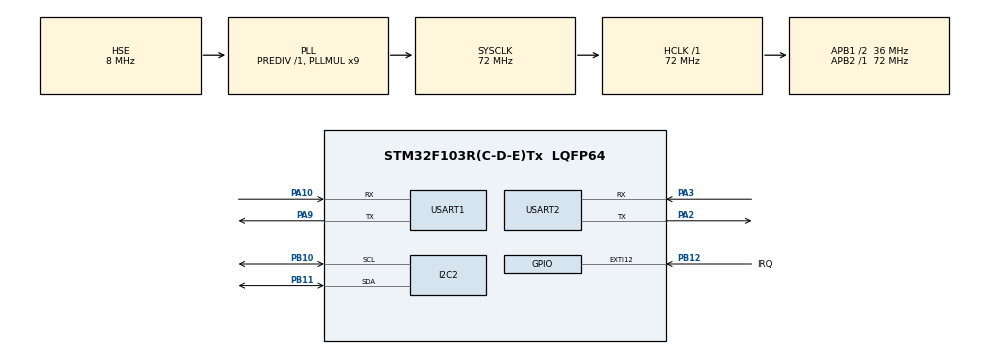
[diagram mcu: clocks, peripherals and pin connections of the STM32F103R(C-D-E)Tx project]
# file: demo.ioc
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I2C2.I2C_Mode=I2C_Standard
I2C2.NoStretchMode=I2C_NOSTRETCH_DISABLE
Mcu.Family=STM32F1
Mcu.Name=STM32F103R(C-D-E)Tx
Mcu.Package=LQFP64
NVIC.EXTI15_10_IRQn=true\:0\:0\:false\:false\:true\:true\:true\:true
NVIC.PriorityGroup=NVIC_PRIORITYGROUP_4
NVIC.USART1_IRQn=true\:0\:0\:false\:false\:true\:true\:true\:true
PA10.Mode=Asynchronous
PA10.Signal=USART1_RX
PA13.Mode=Serial_Wire
PA13.Signal=SYS_JTMS-SWDIO
PA14.Mode=Serial_Wire
PA14.Signal=SYS_JTCK-SWCLK
PA2.Mode=Asynchronous
PA2.Signal=USART2_TX
PA3.Mode=Asynchronous
PA3.Signal=USART2_RX
PA9.Mode=Asynchronous
PA9.Signal=USART1_TX
PB10.GPIO_Pu=GPIO_PULLUP
PB10.Mode=I2C
PB10.Signal=I2C2_SCL
PB11.GPIO_Pu=GPIO_PULLUP
PB11.Mode=I2C
PB11.Signal=I2C2_SDA
PB12.GPIO_Label=IRQ
PB12.GPIO_ModeDefaultEXTI=GPIO_MODE_IT_FALLING
PB12.GPIO_PuPd=GPIO_PULLUP
PB12.Signal=GPXTI12
PD0-OSC_IN.Mode=HSE-External-Oscillator
PD0-OSC_IN.Signal=RCC_OSC_IN
PD1-OSC_OUT.Mode=HSE-External-Oscillator
PD1-OSC_OUT.Signal=RCC_OSC_OUT
ProjectManager.HeapSize=0x400
ProjectManager.StackSize=0x400
ProjectManager.TargetToolchain=MDK-ARM V5
RCC.AHBFreq_Value=72000000
RCC.APB1CLKDivider=RCC_HCLK_DIV2
RCC.APB1Freq_Value=36000000
RCC.APB1TimFreq_Value=72000000
RCC.APB2Freq_Value=72000000
RCC.APB2TimFreq_Value=72000000
RCC.HCLKFreq_Value=72000000
RCC.PLLMUL=RCC_PLL_MUL9
RCC.PLLSourceVirtual=RCC_PLLSOURCE_HSE
RCC.SYSCLKFreq_VALUE=72000000
RCC.SYSCLKSource=RCC_SYSCLKSOURCE_PLLCLK
RCC.USBFreq_Value=72000000
USART1.VirtualMode=VM_ASYNC
USART2.VirtualMode=VM_ASYNC
board=custom

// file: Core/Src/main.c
/* USER CODE BEGIN Header */
/**
 ******************************************************************************
 * @file           : main.c
 * @brief          : Main program body
 ******************************************************************************
 * @attention
 *
 * <h2><center>&copy; Copyright (c) 2022 STMicroelectronics.
 * All rights reserved.</center></h2>
 *
 * This software component is licensed by ST under BSD 3-Clause license,
 * the "License"; You may not use this file except in compliance with the
 * License. You may obtain a copy of the License at:
 *                        opensource.org/licenses/BSD-3-Clause
 *
 ******************************************************************************
 */
/* USER CODE END Header */
#include "main.h"
#include "i2c.h"
#include "usart.h"
#include "gpio.h"

/* USER CODE BEGIN Includes */
#include "tcs3472x/tcs3472x.h"
/* USER CODE END Includes */

void SystemClock_Config(void);

/* USER CODE BEGIN 0 */
void HAL_GPIO_EXTI_Callback(uint16_t GPIO_Pin)
{
    static uint32_t t = 0;
    if (t) println("interval = %f s", (HAL_GetTick() - t) / 1000.f);
    t = HAL_GetTick();  // 计算中断间隔时间

    uint16_t rgb565;
    uint32_t rgb888;
    uint16_t red, green, blue, clear;
    if (tcs3472x_read_rgbc(&red, &green, &blue, &clear)) {
        tcs3472x_get_rgb565_rgb888(red, green, blue, &rgb565, &rgb888);
        println("%d\t%d\t%d", rgb888 >> 16, (rgb888 >> 8) & 0xFF, rgb888 & 0xFF);
    } else {
        println("fail to read rgbc");
    }
}

/* USER CODE END 0 */

int main(void)
{

    /* MCU Configuration--------------------------------------------------------*/

    /* Reset of all peripherals, Initializes the Flash interface and the Systick. */
    HAL_Init();

    /* Configure the system clock */
    SystemClock_Config();

    /* Initialize all configured peripherals */
    MX_GPIO_Init();
    MX_USART1_UART_Init();
    MX_I2C2_Init();
    MX_USART2_UART_Init();

    /* Infinite loop */
    /* USER CODE BEGIN WHILE */

#define PRINT_FREQ 0  // 频率
#define PRINT_LUX  0  // 流名
#define PRINT_CCT  1  // 色温
#define PRINT_RGB  0  //
#define PRINT_IRQ  0  // 中断

    uint16_t red, green, blue, clear;

    if (!tcs3472x_init()) {
        i2cdrv_detector(tcs3472x.bus, tcs3472x.drv);
        println("can't find tcs3472x");
        while (1) {}
    }

#if PRINT_FREQ
    uint32_t t = HAL_GetTick(), cnt = 0;
    // 采样间隔 = 等待时间 + 积分时间
    tcs3472x_set_wait_enable(true);
    tcs3472x_set_wait_time(TCS3472X_WAIT_TIME_204MS);
    tcs3472x_set_integration_time(TCS3472X_INTEGRATION_TIME_154MS);
#endif

#if PRINT_RGB
    tcs3472x_set_gain(TCS3472X_GAIN_16X);
#endif
#if PRINT_IRQ
    tcs3472x_set_wait_enable(true);
    // tcs3472x_set_wait_enable(false);
    tcs3472x_set_wait_time(TCS3472X_WAIT_TIME_2450MS);
#if 1
    tcs3472x_set_interrupt_mode(TCS3472X_PERS_NONE);
#else
    tcs3472x_set_interrupt_mode(TCS3472X_PERS_2_CYCLE);
    tcs3472x_set_clear_low_limit(2000);
    tcs3472x_set_clear_high_limit(8000);
#endif
    tcs3472x_set_integration_time(TCS3472X_INTEGRATION_TIME_700MS);
    tcs3472x_set_interrupt_enable(true);
    if (tcs3472x_read_rgbc(&red, &green, &blue, &clear)) {
    } else {
        println("fail to read rgbc");
    }

    while (1) {}
#endif
    while (1) {
        if (tcs3472x_read_rgbc(&red, &green, &blue, &clear)) {
#if PRINT_FREQ
            // freq = 1 / (integration time + wait time)
            println("%.4f", ++cnt / ((HAL_GetTick() - t) / 1000.0));  // hz
#endif
#if PRINT_LUX
            uint16_t lux = tcs3472x_calculate_lux(red, green, blue, clear);
            println("%d", lux);  // println("lux:%d", lux);
#endif
#if PRINT_CCT
            uint16_t cct1 = calculate_color_temperature(red, green, blue);
            uint16_t cct2 = tcs3472x_calculate_color_temperature(red, green, blue, clear);
            uint16_t cct3 = tcs3472x_calculate_color_temperature_ex(red, green, blue);
            println("R:%d\tG:%d\tB:%d\tC:%d\tT:%d\tT:%d\tT:%d", red, green, blue, clear, cct1, cct2, cct3);
#endif
#if PRINT_RGB
            uint16_t rgb565;
            uint32_t rgb888;
            tcs3472x_get_rgb565_rgb888(red, green, blue, &rgb565, &rgb888);
            // 可用 python/app.py 查看颜色
            println("%d\t%d\t%d", rgb888 >> 16, (rgb888 >> 8) & 0xFF, rgb888 & 0xFF);
#endif
        } else {
            println("fail to read rgbc");
        }
#if 1
        tcs3472x_delay_integration_time();
        tcs3472x_delay_wait_time();
#endif
        /* USER CODE END WHILE */

    }
}

void SystemClock_Config(void)
{
    RCC_OscInitTypeDef RCC_OscInitStruct = {0};
    RCC_ClkInitTypeDef RCC_ClkInitStruct = {0};

    /** Initializes the RCC Oscillators according to the specified parameters
     * in the RCC_OscInitTypeDef structure.
     */
    RCC_OscInitStruct.OscillatorType = RCC_OSCILLATORTYPE_HSE;
    RCC_OscInitStruct.HSEState       = RCC_HSE_ON;
    RCC_OscInitStruct.HSEPredivValue = RCC_HSE_PREDIV_DIV1;
    RCC_OscInitStruct.HSIState       = RCC_HSI_ON;
    RCC_OscInitStruct.PLL.PLLState   = RCC_PLL_ON;
    RCC_OscInitStruct.PLL.PLLSource  = RCC_PLLSOURCE_HSE;
    RCC_OscInitStruct.PLL.PLLMUL     = RCC_PLL_MUL9;
    if (HAL_RCC_OscConfig(&RCC_OscInitStruct) != HAL_OK) {
        Error_Handler();
    }

    /** Initializes the CPU, AHB and APB buses clocks
     */
    RCC_ClkInitStruct.ClockType      = RCC_CLOCKTYPE_HCLK | RCC_CLOCKTYPE_SYSCLK | RCC_CLOCKTYPE_PCLK1 | RCC_CLOCKTYPE_PCLK2;
    RCC_ClkInitStruct.SYSCLKSource   = RCC_SYSCLKSOURCE_PLLCLK;
    RCC_ClkInitStruct.AHBCLKDivider  = RCC_SYSCLK_DIV1;
    RCC_ClkInitStruct.APB1CLKDivider = RCC_HCLK_DIV2;
    RCC_ClkInitStruct.APB2CLKDivider = RCC_HCLK_DIV1;

    if (HAL_RCC_ClockConfig(&RCC_ClkInitStruct, FLASH_LATENCY_2) != HAL_OK) {
        Error_Handler();
    }
}

void Error_Handler(void)
{
}
